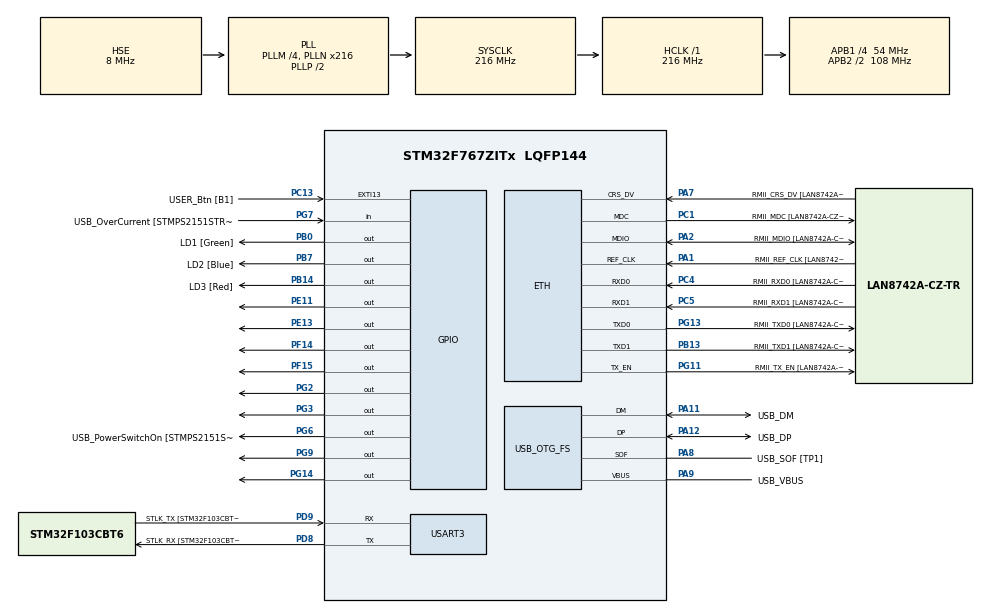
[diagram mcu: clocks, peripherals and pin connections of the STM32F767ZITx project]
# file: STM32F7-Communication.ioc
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ETH.MediaInterface=HAL_ETH_RMII_MODE
ETH.PHY_Name=LAN8742A_PHY_ADDRESS
ETH.PHY_Value=0
ETH.PhyAddress=0
Mcu.Family=STM32F7
Mcu.Name=STM32F767ZITx
Mcu.Package=LQFP144
NVIC.PriorityGroup=NVIC_PRIORITYGROUP_4
PA1.GPIO_Label=RMII_REF_CLK [LAN8742A-CZ-TR_REFCLK0]
PA1.Mode=RMII
PA1.Signal=ETH_REF_CLK
PA10.GPIO_Label=USB_ID
PA10.Signal=USB_OTG_FS_ID
PA11.GPIO_Label=USB_DM
PA11.Mode=Device_Only
PA11.Signal=USB_OTG_FS_DM
PA12.GPIO_Label=USB_DP
PA12.Mode=Device_Only
PA12.Signal=USB_OTG_FS_DP
PA13.GPIO_Label=TMS
PA13.Mode=Serial_Wire
PA13.Signal=SYS_JTMS-SWDIO
PA14.GPIO_Label=TCK
PA14.Mode=Serial_Wire
PA14.Signal=SYS_JTCK-SWCLK
PA2.GPIO_Label=RMII_MDIO [LAN8742A-CZ-TR_MDIO]
PA2.Mode=RMII
PA2.Signal=ETH_MDIO
PA7.GPIO_Label=RMII_CRS_DV [LAN8742A-CZ-TR_CRS_DV]
PA7.Mode=RMII
PA7.Signal=ETH_CRS_DV
PA8.GPIO_Label=USB_SOF [TP1]
PA8.Mode=Activate_SOF_FS
PA8.Signal=USB_OTG_FS_SOF
PA9.GPIO_Label=USB_VBUS
PA9.Mode=Activate_VBUS
PA9.Signal=USB_OTG_FS_VBUS
PB0.GPIO_Label=LD1 [Green]
PB0.Signal=GPIO_Output
PB13.GPIO_Label=RMII_TXD1 [LAN8742A-CZ-TR_TXD1]
PB13.Mode=RMII
PB13.Signal=ETH_TXD1
PB14.GPIO_Label=LD3 [Red]
PB14.Signal=GPIO_Output
PB3.GPIO_Label=SWO
PB3.Signal=SYS_JTDO-SWO
PB7.GPIO_Label=LD2 [Blue]
PB7.Signal=GPIO_Output
PC1.GPIO_Label=RMII_MDC [LAN8742A-CZ-TR_MDC]
PC1.Mode=RMII
PC1.Signal=ETH_MDC
PC13.GPIO_Label=USER_Btn [B1]
PC13.Signal=GPXTI13
PC14/OSC32_IN.Mode=LSE-External-Oscillator
PC14/OSC32_IN.Signal=RCC_OSC32_IN
PC15/OSC32_OUT.Mode=LSE-External-Oscillator
PC15/OSC32_OUT.Signal=RCC_OSC32_OUT
PC4.GPIO_Label=RMII_RXD0 [LAN8742A-CZ-TR_RXD0]
PC4.Mode=RMII
PC4.Signal=ETH_RXD0
PC5.GPIO_Label=RMII_RXD1 [LAN8742A-CZ-TR_RXD1]
PC5.Mode=RMII
PC5.Signal=ETH_RXD1
PD8.GPIO_Label=STLK_RX [STM32F103CBT6_PA3]
PD8.Mode=Asynchronous
PD8.Signal=USART3_TX
PD9.GPIO_Label=STLK_TX [STM32F103CBT6_PA2]
PD9.Mode=Asynchronous
PD9.Signal=USART3_RX
PE11.Signal=GPIO_Output
PE13.Signal=GPIO_Output
PF14.Signal=GPIO_Output
PF15.Signal=GPIO_Output
PG11.GPIO_Label=RMII_TX_EN [LAN8742A-CZ-TR_TXEN]
PG11.Mode=RMII
PG11.Signal=ETH_TX_EN
PG13.GPIO_Label=RMII_TXD0 [LAN8742A-CZ-TR_TXD0]
PG13.Mode=RMII
PG13.Signal=ETH_TXD0
PG14.Signal=GPIO_Output
PG2.Signal=GPIO_Output
PG3.Signal=GPIO_Output
PG6.GPIO_Label=USB_PowerSwitchOn [STMPS2151STR_EN]
PG6.Signal=GPIO_Output
PG7.GPIO_Label=USB_OverCurrent [STMPS2151STR_FAULT]
PG7.Signal=GPIO_Input
PG9.Signal=GPIO_Output
PH0/OSC_IN.GPIO_Label=MCO [STM32F103CBT6_PA8]
PH0/OSC_IN.Mode=HSE-External-Clock-Source
PH0/OSC_IN.Signal=RCC_OSC_IN
PH1/OSC_OUT.Mode=HSE-External-Clock-Source
PH1/OSC_OUT.Signal=RCC_OSC_OUT
ProjectManager.HeapSize=0x200
ProjectManager.StackSize=0x400
ProjectManager.TargetToolchain=STM32CubeIDE
RCC.48MHZClocksFreq_Value=24000000
RCC.AHBFreq_Value=216000000
RCC.APB1CLKDivider=RCC_HCLK_DIV4
RCC.APB1Freq_Value=54000000
RCC.APB1TimFreq_Value=108000000
RCC.APB2CLKDivider=RCC_HCLK_DIV2
RCC.APB2Freq_Value=108000000
RCC.APB2TimFreq_Value=216000000
RCC.CortexFreq_Value=216000000
RCC.HCLKFreq_Value=216000000
RCC.HSE_VALUE=8000000
RCC.HSI_VALUE=16000000
RCC.PLLM=4
RCC.PLLMUL=RCC_PLL_MUL9
RCC.PLLN=216
RCC.PLLQ=9
RCC.PRESCALERUSB=RCC_USBCLKSOURCE_PLL_DIV1_5
RCC.SYSCLKFreq_VALUE=216000000
RCC.SYSCLKSource=RCC_SYSCLKSOURCE_PLLCLK
RCC.SYSCLKSourceVirtual=RCC_SYSCLKSOURCE_PLLCLK
RCC.USBFreq_Value=48000000
RCC.VCOOutputFreq_Value=432000000
USART3.VirtualMode-Asynchronous=VM_ASYNC
USB_OTG_FS.VirtualMode=Device_Only
board=NUCLEO-F767ZI

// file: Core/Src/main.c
/* USER CODE BEGIN Header */
/**
  ******************************************************************************
  * @file           : main.c
  * @brief          : Main program body
  ******************************************************************************
  * @attention
  *
  * Copyright (c) 2025 STMicroelectronics.
  * All rights reserved.
  *
  * This software is licensed under terms that can be found in the LICENSE file
  * in the root directory of this software component.
  * If no LICENSE file comes with this software, it is provided AS-IS.
  *
  ******************************************************************************
  */
/* USER CODE END Header */
#include "main.h"
#include "string.h"
#include "lcd.h"
#include <stdbool.h>

#if defined ( __ICCARM__ ) /*!< IAR Compiler */
#pragma location=0x2007c000
ETH_DMADescTypeDef  DMARxDscrTab[ETH_RX_DESC_CNT]; /* Ethernet Rx DMA Descriptors */
#pragma location=0x2007c0a0
ETH_DMADescTypeDef  DMATxDscrTab[ETH_TX_DESC_CNT]; /* Ethernet Tx DMA Descriptors */

#elif defined ( __CC_ARM )  /* MDK ARM Compiler */

__attribute__((at(0x2007c000))) ETH_DMADescTypeDef  DMARxDscrTab[ETH_RX_DESC_CNT]; /* Ethernet Rx DMA Descriptors */
__attribute__((at(0x2007c0a0))) ETH_DMADescTypeDef  DMATxDscrTab[ETH_TX_DESC_CNT]; /* Ethernet Tx DMA Descriptors */

#elif defined ( __GNUC__ ) /* GNU Compiler */

ETH_DMADescTypeDef DMARxDscrTab[ETH_RX_DESC_CNT] __attribute__((section(".RxDecripSection"))); /* Ethernet Rx DMA Descriptors */
ETH_DMADescTypeDef DMATxDscrTab[ETH_TX_DESC_CNT] __attribute__((section(".TxDecripSection")));   /* Ethernet Tx DMA Descriptors */
#endif

ETH_TxPacketConfig TxConfig;

ETH_HandleTypeDef heth;

UART_HandleTypeDef huart3;

PCD_HandleTypeDef hpcd_USB_OTG_FS;

void SystemClock_Config(void);
static void MX_GPIO_Init(void);
static void MX_ETH_Init(void);
static void MX_USART3_UART_Init(void);
static void MX_USB_OTG_FS_PCD_Init(void);

int main(void)
{

  /* MCU Configuration--------------------------------------------------------*/

  /* Reset of all peripherals, Initializes the Flash interface and the Systick. */
  HAL_Init();

  /* Configure the system clock */
  SystemClock_Config();

  /* Initialize all configured peripherals */
  MX_GPIO_Init();
  MX_ETH_Init();
  MX_USART3_UART_Init();
  MX_USB_OTG_FS_PCD_Init();
  /* USER CODE BEGIN 2 */

  Lcd_PortType ports[] = {
  	GPIOG, GPIOG, GPIOF, GPIOE
  };

  Lcd_PinType pins[] = {GPIO_PIN_9, GPIO_PIN_14, GPIO_PIN_15, GPIO_PIN_13};

  Lcd_HandleTypeDef lcd;
  bool state = 0;

  lcd = Lcd_create(ports, pins, GPIOF, GPIO_PIN_14, GPIOE, GPIO_PIN_11, LCD_4_BIT_MODE);

  Lcd_string(&lcd, "4ilo - 4bit");

  HAL_Delay(2000);

  Lcd_clear(&lcd);

  /* USER CODE END 2 */

  /* Infinite loop */
  /* USER CODE BEGIN WHILE */
  while (1)
  {
	if(HAL_GPIO_ReadPin(USER_Btn_GPIO_Port, USER_Btn_Pin)) {
		if(!state) {
			Lcd_clear(&lcd);
			Lcd_string(&lcd, "Button Pressed!");
			state = 1;
		}
	}
	else {
		if(state) {
			Lcd_clear(&lcd);
			Lcd_string(&lcd, "Waiting...");
			state = 0;
		}
	}
	HAL_Delay(100);
	/*
	HAL_GPIO_TogglePin(GPIOB, GPIO_PIN_0);
	HAL_Delay(100);
	HAL_GPIO_TogglePin(GPIOB, GPIO_PIN_7);
	HAL_Delay(100);
	HAL_GPIO_TogglePin(GPIOB, GPIO_PIN_14);
	HAL_Delay(100);
	HAL_GPIO_TogglePin(GPIOG, GPIO_PIN_2);
	HAL_Delay(100);
	*/
    /* USER CODE END WHILE */

  }
}

void SystemClock_Config(void)
{
  RCC_OscInitTypeDef RCC_OscInitStruct = {0};
  RCC_ClkInitTypeDef RCC_ClkInitStruct = {0};

  /** Configure LSE Drive Capability
  */
  HAL_PWR_EnableBkUpAccess();

  /** Configure the main internal regulator output voltage
  */
  __HAL_RCC_PWR_CLK_ENABLE();
  __HAL_PWR_VOLTAGESCALING_CONFIG(PWR_REGULATOR_VOLTAGE_SCALE1);

  /** Initializes the RCC Oscillators according to the specified parameters
  * in the RCC_OscInitTypeDef structure.
  */
  RCC_OscInitStruct.OscillatorType = RCC_OSCILLATORTYPE_HSE;
  RCC_OscInitStruct.HSEState = RCC_HSE_BYPASS;
  RCC_OscInitStruct.PLL.PLLState = RCC_PLL_ON;
  RCC_OscInitStruct.PLL.PLLSource = RCC_PLLSOURCE_HSE;
  RCC_OscInitStruct.PLL.PLLM = 4;
  RCC_OscInitStruct.PLL.PLLN = 216;
  RCC_OscInitStruct.PLL.PLLP = RCC_PLLP_DIV2;
  RCC_OscInitStruct.PLL.PLLQ = 9;
  RCC_OscInitStruct.PLL.PLLR = 2;
  if (HAL_RCC_OscConfig(&RCC_OscInitStruct) != HAL_OK)
  {
    Error_Handler();
  }

  /** Activate the Over-Drive mode
  */
  if (HAL_PWREx_EnableOverDrive() != HAL_OK)
  {
    Error_Handler();
  }

  /** Initializes the CPU, AHB and APB buses clocks
  */
  RCC_ClkInitStruct.ClockType = RCC_CLOCKTYPE_HCLK|RCC_CLOCKTYPE_SYSCLK
                              |RCC_CLOCKTYPE_PCLK1|RCC_CLOCKTYPE_PCLK2;
  RCC_ClkInitStruct.SYSCLKSource = RCC_SYSCLKSOURCE_PLLCLK;
  RCC_ClkInitStruct.AHBCLKDivider = RCC_SYSCLK_DIV1;
  RCC_ClkInitStruct.APB1CLKDivider = RCC_HCLK_DIV4;
  RCC_ClkInitStruct.APB2CLKDivider = RCC_HCLK_DIV2;

  if (HAL_RCC_ClockConfig(&RCC_ClkInitStruct, FLASH_LATENCY_7) != HAL_OK)
  {
    Error_Handler();
  }
}

static void MX_ETH_Init(void)
{

   static uint8_t MACAddr[6];

  heth.Instance = ETH;
  MACAddr[0] = 0x00;
  MACAddr[1] = 0x80;
  MACAddr[2] = 0xE1;
  MACAddr[3] = 0x00;
  MACAddr[4] = 0x00;
  MACAddr[5] = 0x00;
  heth.Init.MACAddr = &MACAddr[0];
  heth.Init.MediaInterface = HAL_ETH_RMII_MODE;
  heth.Init.TxDesc = DMATxDscrTab;
  heth.Init.RxDesc = DMARxDscrTab;
  heth.Init.RxBuffLen = 1524;

  if (HAL_ETH_Init(&heth) != HAL_OK)
  {
    Error_Handler();
  }

  memset(&TxConfig, 0 , sizeof(ETH_TxPacketConfig));
  TxConfig.Attributes = ETH_TX_PACKETS_FEATURES_CSUM | ETH_TX_PACKETS_FEATURES_CRCPAD;
  TxConfig.ChecksumCtrl = ETH_CHECKSUM_IPHDR_PAYLOAD_INSERT_PHDR_CALC;
  TxConfig.CRCPadCtrl = ETH_CRC_PAD_INSERT;

}

static void MX_USART3_UART_Init(void)
{

  huart3.Instance = USART3;
  huart3.Init.BaudRate = 115200;
  huart3.Init.WordLength = UART_WORDLENGTH_8B;
  huart3.Init.StopBits = UART_STOPBITS_1;
  huart3.Init.Parity = UART_PARITY_NONE;
  huart3.Init.Mode = UART_MODE_TX_RX;
  huart3.Init.HwFlowCtl = UART_HWCONTROL_NONE;
  huart3.Init.OverSampling = UART_OVERSAMPLING_16;
  huart3.Init.OneBitSampling = UART_ONE_BIT_SAMPLE_DISABLE;
  huart3.AdvancedInit.AdvFeatureInit = UART_ADVFEATURE_NO_INIT;
  if (HAL_UART_Init(&huart3) != HAL_OK)
  {
    Error_Handler();
  }

}

static void MX_USB_OTG_FS_PCD_Init(void)
{

  hpcd_USB_OTG_FS.Instance = USB_OTG_FS;
  hpcd_USB_OTG_FS.Init.dev_endpoints = 6;
  hpcd_USB_OTG_FS.Init.speed = PCD_SPEED_FULL;
  hpcd_USB_OTG_FS.Init.dma_enable = DISABLE;
  hpcd_USB_OTG_FS.Init.phy_itface = PCD_PHY_EMBEDDED;
  hpcd_USB_OTG_FS.Init.Sof_enable = ENABLE;
  hpcd_USB_OTG_FS.Init.low_power_enable = DISABLE;
  hpcd_USB_OTG_FS.Init.lpm_enable = DISABLE;
  hpcd_USB_OTG_FS.Init.vbus_sensing_enable = ENABLE;
  hpcd_USB_OTG_FS.Init.use_dedicated_ep1 = DISABLE;
  if (HAL_PCD_Init(&hpcd_USB_OTG_FS) != HAL_OK)
  {
    Error_Handler();
  }

}

static void MX_GPIO_Init(void)
{
  GPIO_InitTypeDef GPIO_InitStruct = {0};

  /* GPIO Ports Clock Enable */
  __HAL_RCC_GPIOC_CLK_ENABLE();
  __HAL_RCC_GPIOH_CLK_ENABLE();
  __HAL_RCC_GPIOA_CLK_ENABLE();
  __HAL_RCC_GPIOB_CLK_ENABLE();
  __HAL_RCC_GPIOF_CLK_ENABLE();
  __HAL_RCC_GPIOE_CLK_ENABLE();
  __HAL_RCC_GPIOD_CLK_ENABLE();
  __HAL_RCC_GPIOG_CLK_ENABLE();

  /*Configure GPIO pin Output Level */
  HAL_GPIO_WritePin(GPIOB, LD1_Pin|LD3_Pin|LD2_Pin, GPIO_PIN_RESET);

  /*Configure GPIO pin Output Level */
  HAL_GPIO_WritePin(GPIOF, GPIO_PIN_14|GPIO_PIN_15, GPIO_PIN_RESET);

  /*Configure GPIO pin Output Level */
  HAL_GPIO_WritePin(GPIOE, GPIO_PIN_11|GPIO_PIN_13, GPIO_PIN_RESET);

  /*Configure GPIO pin Output Level */
  HAL_GPIO_WritePin(GPIOG, GPIO_PIN_2|GPIO_PIN_3|USB_PowerSwitchOn_Pin|GPIO_PIN_9
                          |GPIO_PIN_14, GPIO_PIN_RESET);

  /*Configure GPIO pin : USER_Btn_Pin */
  GPIO_InitStruct.Pin = USER_Btn_Pin;
  GPIO_InitStruct.Mode = GPIO_MODE_IT_RISING;
  GPIO_InitStruct.Pull = GPIO_NOPULL;
  HAL_GPIO_Init(USER_Btn_GPIO_Port, &GPIO_InitStruct);

  /*Configure GPIO pins : LD1_Pin LD3_Pin LD2_Pin */
  GPIO_InitStruct.Pin = LD1_Pin|LD3_Pin|LD2_Pin;
  GPIO_InitStruct.Mode = GPIO_MODE_OUTPUT_PP;
  GPIO_InitStruct.Pull = GPIO_NOPULL;
  GPIO_InitStruct.Speed = GPIO_SPEED_FREQ_LOW;
  HAL_GPIO_Init(GPIOB, &GPIO_InitStruct);

  /*Configure GPIO pins : PF14 PF15 */
  GPIO_InitStruct.Pin = GPIO_PIN_14|GPIO_PIN_15;
  GPIO_InitStruct.Mode = GPIO_MODE_OUTPUT_PP;
  GPIO_InitStruct.Pull = GPIO_NOPULL;
  GPIO_InitStruct.Speed = GPIO_SPEED_FREQ_LOW;
  HAL_GPIO_Init(GPIOF, &GPIO_InitStruct);

  /*Configure GPIO pins : PE11 PE13 */
  GPIO_InitStruct.Pin = GPIO_PIN_11|GPIO_PIN_13;
  GPIO_InitStruct.Mode = GPIO_MODE_OUTPUT_PP;
  GPIO_InitStruct.Pull = GPIO_NOPULL;
  GPIO_InitStruct.Speed = GPIO_SPEED_FREQ_LOW;
  HAL_GPIO_Init(GPIOE, &GPIO_InitStruct);

  /*Configure GPIO pins : PG2 PG3 USB_PowerSwitchOn_Pin PG9
                           PG14 */
  GPIO_InitStruct.Pin = GPIO_PIN_2|GPIO_PIN_3|USB_PowerSwitchOn_Pin|GPIO_PIN_9
                          |GPIO_PIN_14;
  GPIO_InitStruct.Mode = GPIO_MODE_OUTPUT_PP;
  GPIO_InitStruct.Pull = GPIO_NOPULL;
  GPIO_InitStruct.Speed = GPIO_SPEED_FREQ_LOW;
  HAL_GPIO_Init(GPIOG, &GPIO_InitStruct);

  /*Configure GPIO pin : USB_OverCurrent_Pin */
  GPIO_InitStruct.Pin = USB_OverCurrent_Pin;
  GPIO_InitStruct.Mode = GPIO_MODE_INPUT;
  GPIO_InitStruct.Pull = GPIO_NOPULL;
  HAL_GPIO_Init(USB_OverCurrent_GPIO_Port, &GPIO_InitStruct);

}

void Error_Handler(void)
{
  __disable_irq();
  while (1)
  {
  }
}
